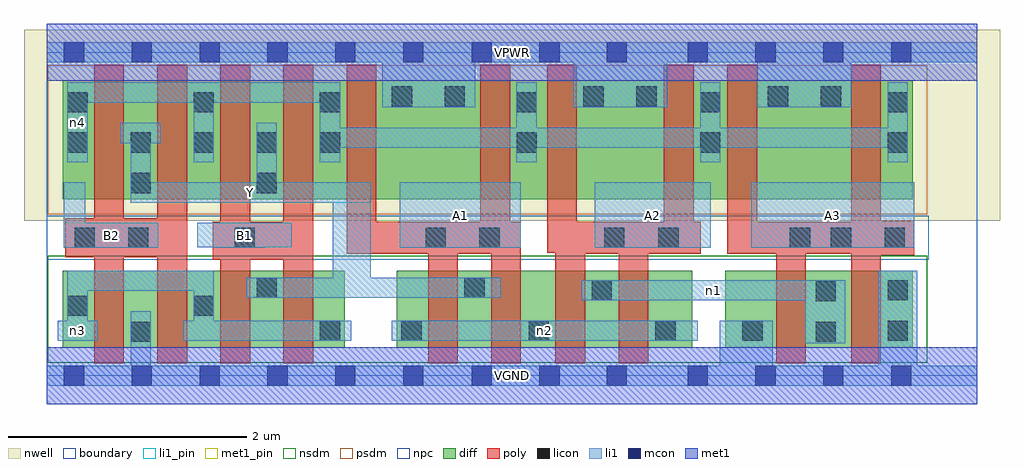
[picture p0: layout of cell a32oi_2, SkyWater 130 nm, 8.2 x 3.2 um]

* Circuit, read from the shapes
.subckt a32oi_2 A1 A2 A3 B1 B2 VGND VPWR Y n1 n2 n3 n4
XM1 VGND B2 n3 VSUBS sky130_fd_pr__nfet_01v8 w=0.65 l=0.25 m=2
XM2 Y B1 n3 VSUBS sky130_fd_pr__nfet_01v8 w=0.65 l=0.25 m=2
XM3 Y A1 n2 VSUBS sky130_fd_pr__nfet_01v8 w=0.65 l=0.25 m=2
XM4 n1 A2 n2 VSUBS sky130_fd_pr__nfet_01v8 w=0.65 l=0.25 m=2
XM5 n1 A3 VGND VSUBS sky130_fd_pr__nfet_01v8 w=0.65 l=0.25 m=2
XM6 Y B2 n4 n5 sky130_fd_pr__pfet_01v8 w=1 l=0.25 m=2
XM7 Y B1 n4 n5 sky130_fd_pr__pfet_01v8 w=1 l=0.25 m=2
XM8 VPWR A1 n4 n5 sky130_fd_pr__pfet_01v8 w=1 l=0.25 m=2
XM9 VPWR A2 n4 n5 sky130_fd_pr__pfet_01v8 w=1 l=0.25 m=2
XM10 VPWR A3 n4 n5 sky130_fd_pr__pfet_01v8 w=1 l=0.25 m=2
.ends

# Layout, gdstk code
import gdstk
lib = gdstk.Library(unit=1e-6, precision=1e-09)
def R(c, l, rs):  # rectangles x0, y0, x1, y1
    for r in rs: c.add(gdstk.rectangle(r[:2], r[2:], *l))
def A(c, l, x, y, w, h, nx, ny, dx, dy):  # array of equal rectangles
    R(c, l, [(x+i*dx, y+j*dy, x+i*dx+w, y+j*dy+h) for i in range(nx) for j in range(ny)])
nwell = (64, 20)
diff = (65, 20)
poly = (66, 20)
licon = (66, 44)
li1_pin = (67, 16)
li1 = (67, 20)
mcon = (67, 44)
met1_pin = (68, 16)
met1 = (68, 20)
nsdm = (93, 44)
psdm = (94, 20)
npc = (95, 20)
boundary = (235, 4)

a32oi_2 = lib.new_cell('a32oi_2')
R(a32oi_2, nwell, [(-0.19,1.305,8.01,2.91), (0,1.305,7.82,2.91)])
R(a32oi_2, diff, [(0.135,0.235,2.505,0.885), (2.94,0.235,5.425,0.885), (5.7,0.235,7.275,0.885), (0.135,1.485,7.275,2.485)])
A(a32oi_2, poly, 0.4, 0.105, 0.25, 2.51, 4, 1, 0.53, 0)
R(a32oi_2, poly, [(3.205,0.105,3.455,1.295), (3.735,0.105,3.985,1.295), (4.275,0.105,4.525,1.295), (4.805,0.105,5.055,1.295), (6.13,0.105,6.38,1.295), (6.76,0.105,7.01,2.615), (1.395,0.975,2.24,1.295), (0.155,0.995,1.18,1.325), (6.76,1.015,7.29,1.305), (2.52,1.025,3.985,1.295), (2.52,1.025,2.77,2.615), (3.645,1.025,3.895,2.615), (4.275,1.025,5.495,1.295), (5.185,1.025,5.435,2.615), (5.72,1.025,5.97,2.615), (5.72,1.025,7.29,1.295), (4.205,1.035,4.455,2.615)])
A(a32oi_2, licon, 0.175, 1.875, 0.17, 0.17, 5, 1, 0.53, 0)
A(a32oi_2, licon, 0.175, 2.215, 0.17, 0.17, 3, 1, 1.06, 0)
R(a32oi_2, licon, [(0.705,0.285,0.875,0.455), (6.46,0.285,6.63,0.455), (2.295,0.295,2.465,0.465), (2.98,0.295,3.15,0.465), (4.05,0.295,4.22,0.465), (5.115,0.295,5.285,0.465), (5.845,0.295,6.015,0.465), (7.065,0.295,7.235,0.465), (0.175,0.505,0.345,0.675), (1.235,0.505,1.405,0.675), (6.46,0.625,6.63,0.795), (4.58,0.635,4.75,0.805), (7.065,0.635,7.235,0.805), (1.765,0.655,1.935,0.825), (3.51,0.655,3.68,0.825), (0.235,1.075,0.405,1.245), (0.685,1.075,0.855,1.245), (1.58,1.075,1.75,1.245), (3.185,1.075,3.355,1.245), (3.635,1.075,3.805,1.245), (4.685,1.075,4.855,1.245), (5.14,1.075,5.31,1.245), (6.245,1.075,6.415,1.245), (6.59,1.075,6.76,1.245), (7.04,1.075,7.21,1.245), (0.705,1.535,0.875,1.705), (1.765,1.535,1.935,1.705), (3.95,1.875,4.12,2.045), (5.49,1.875,5.66,2.045), (7.065,1.875,7.235,2.045), (3.95,2.215,4.12,2.385), (5.49,2.215,5.66,2.385), (7.065,2.215,7.235,2.385), (2.9,2.265,3.07,2.435), (3.345,2.265,3.515,2.435), (4.51,2.265,4.68,2.435), (4.955,2.265,5.125,2.435), (6.06,2.265,6.23,2.435), (6.505,2.265,6.675,2.435)])
R(a32oi_2, li1_pin, [(0.145,1.075,0.94,1.285), (2.965,1.075,3.985,1.625), (4.605,1.075,5.58,1.625), (5.92,1.075,7.29,1.625), (1.265,1.08,2.06,1.285), (0.705,1.455,2.725,1.625)])
A(a32oi_2, li1, 0.175, 1.795, 0.17, 0.67, 3, 1, 1.06, 0)
R(a32oi_2, li1, [(0,-0.085,7.82,0.085), (0.705,-0.085,0.875,0.545), (5.655,-0.085,6.1,0.465), (6.985,-0.085,7.315,0.885), (6.375,0.275,6.71,0.805), (0.095,0.295,0.43,0.465), (0.175,0.295,0.345,0.885), (1.15,0.295,2.56,0.465), (1.235,0.295,1.405,0.885), (2.9,0.295,5.47,0.465), (4.495,0.635,6.71,0.805), (1.68,0.655,3.815,0.825), (2.405,0.655,2.725,1.625), (0.175,0.715,1.405,0.885), (0.145,1.075,0.94,1.285), (0.145,1.075,0.325,1.625), (1.395,1.075,1.835,1.285), (2.965,1.075,3.985,1.625), (4.605,1.075,5.58,1.625), (5.92,1.075,7.29,1.625), (1.265,1.08,2.06,1.285), (0.705,1.455,2.725,1.625), (0.705,1.455,0.875,2.125), (1.765,1.455,1.935,2.125), (3.945,1.795,4.12,2.465), (5.49,1.795,5.66,2.465), (7.065,1.795,7.235,2.465), (2.295,1.915,7.235,2.085), (0.62,1.955,0.96,2.125), (2.82,2.255,3.6,2.805), (4.425,2.255,5.215,2.805), (5.97,2.255,6.76,2.805), (0.175,2.295,2.465,2.465), (0,2.635,7.82,2.805)])
A(a32oi_2, mcon, 0.145, -0.085, 0.17, 0.17, 6, 2, 0.57, 2.72)
A(a32oi_2, mcon, 5.385, -0.085, 0.17, 0.17, 4, 2, 0.57, 2.72)
R(a32oi_2, mcon, [(3.57,-0.085,3.74,0.085), (4.14,-0.085,4.31,0.085), (4.705,-0.085,4.875,0.085), (3.57,2.635,3.74,2.805), (4.14,2.635,4.31,2.805), (4.705,2.635,4.875,2.805)])
R(a32oi_2, met1_pin, [(0,-0.24,7.82,0.24), (0,2.48,7.82,2.96)])
R(a32oi_2, met1, [(0,-0.24,7.82,0.24), (0,2.48,7.82,2.96)])
R(a32oi_2, nsdm, [(0.01,0.11,7.4,1.01)])
R(a32oi_2, psdm, [(0.01,1.36,7.4,2.61)])
R(a32oi_2, npc, [(0,0.975,7.41,1.345)])
R(a32oi_2, boundary, [(0,0,7.82,2.72)])
a32oi_2.add(gdstk.Label('A1', (3.475,1.35), layer=67, texttype=5))
a32oi_2.add(gdstk.Label('A2', (5.092,1.35), layer=67, texttype=5))
a32oi_2.add(gdstk.Label('A3', (6.605,1.35), layer=67, texttype=5))
a32oi_2.add(gdstk.Label('B1', (1.662,1.182), layer=67, texttype=5))
a32oi_2.add(gdstk.Label('B2', (0.542,1.18), layer=67, texttype=5))
a32oi_2.add(gdstk.Label('Y', (1.715,1.54), layer=67, texttype=5))
a32oi_2.add(gdstk.Label('n2', (4.185,0.38), layer=67, texttype=5))
a32oi_2.add(gdstk.Label('n1', (5.602,0.72), layer=67, texttype=5))
a32oi_2.add(gdstk.Label('n3', (0.262,0.38), layer=67, texttype=5))
a32oi_2.add(gdstk.Label('n4', (0.26,2.13), layer=67, texttype=5))
a32oi_2.add(gdstk.Label('VPWR', (3.91,2.72), layer=68, texttype=5))
a32oi_2.add(gdstk.Label('VGND', (3.91,0), layer=68, texttype=5))
a32oi_2.add(gdstk.Label('A1', (3.475,1.35), layer=67, texttype=16))
a32oi_2.add(gdstk.Label('A2', (5.092,1.35), layer=67, texttype=16))
a32oi_2.add(gdstk.Label('A3', (6.605,1.35), layer=67, texttype=16))
a32oi_2.add(gdstk.Label('B1', (1.662,1.182), layer=67, texttype=16))
a32oi_2.add(gdstk.Label('B2', (0.542,1.18), layer=67, texttype=16))
a32oi_2.add(gdstk.Label('Y', (1.715,1.54), layer=67, texttype=16))
a32oi_2.add(gdstk.Label('VPWR', (3.91,2.72), layer=68, texttype=16))
a32oi_2.add(gdstk.Label('VGND', (3.91,0), layer=68, texttype=16))

lib.write_gds('a32oi_2.gds')
